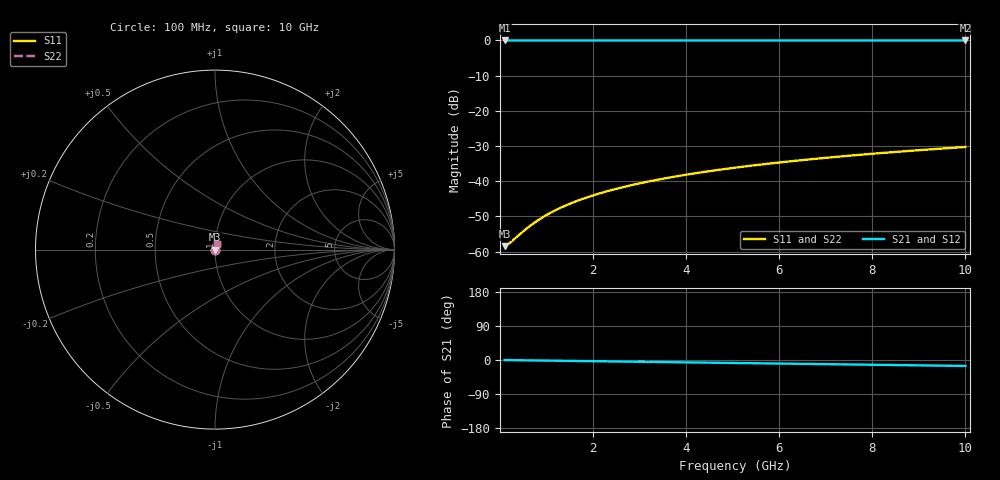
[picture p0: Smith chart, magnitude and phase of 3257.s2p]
# Hz S RI R 50.00
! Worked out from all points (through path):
!   100 points, 100 MHz to 10 GHz, reference 50 ohm
!   highest |S21| = -0.01 dB at 100 MHz (marker M1); lowest = 0.0 dB at 10 GHz (marker M2)
!   group delay of S21, straight-line fit = 4.36 ps
!   lowest |S11| = -58.5 dB at 100 MHz (marker M3), VSWR 1.00, Z = 50.1 + j0.0306 ohm
!   |S11| at or under -10 dB: start of sweep to end of sweep
!   |S22| runs from -58.5 to -30.3 dB; largest |S21 - S12| = 0
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1e8  0.00115 0.000306  0.9988 -0.00272  0.9988 -0.00272  0.00115 0.000306
2e8  0.00116 0.000611  0.9988 -0.00544  0.9988 -0.00544  0.00116 0.000611
6e8  0.0012 0.00183  0.9987 -0.0163  0.9987 -0.0163  0.0012 0.00183
7e8  0.00122 0.00214  0.9986 -0.019  0.9986 -0.019  0.00122 0.00214
9e8  0.00125 0.00275  0.9985 -0.0245  0.9985 -0.0245  0.00125 0.00275
1.1e9  0.00128 0.00336  0.9983 -0.0299  0.9983 -0.0299  0.00128 0.00336
1.3e9  0.00132 0.00397  0.9982 -0.0353  0.9982 -0.0353  0.00132 0.00397
1.5e9  0.00137 0.00458  0.9979 -0.0408  0.9979 -0.0408  0.00137 0.00458
1.8e9  0.00146 0.00549  0.9976 -0.0489  0.9976 -0.0489  0.00146 0.00549
2.1e9  0.00156 0.00639  0.9971 -0.0571  0.9971 -0.0571  0.00156 0.00639
2.5e9  0.00171 0.0076  0.9964 -0.068  0.9964 -0.068  0.00171 0.0076
2.9e9  0.00189 0.00881  0.9956 -0.0788  0.9956 -0.0788  0.00189 0.00881
3.4e9  0.00216 0.0103  0.9944 -0.0924  0.9944 -0.0924  0.00216 0.0103
3.8e9  0.0024 0.0115  0.9933 -0.1033  0.9933 -0.1033  0.0024 0.0115
4.2e9  0.00266 0.0127  0.9921 -0.1141  0.9921 -0.1141  0.00266 0.0127
4.6e9  0.00295 0.0139  0.9907 -0.125  0.9907 -0.125  0.00295 0.0139
5.1e9  0.00336 0.0153  0.9889 -0.1385  0.9889 -0.1385  0.00336 0.0153
5.9e9  0.00408 0.0177  0.9856 -0.1602  0.9856 -0.1602  0.00408 0.0177
6.7e9  0.00491 0.02  0.9817 -0.1818  0.9817 -0.1818  0.00491 0.02
7.5e9  0.00585 0.0222  0.9774 -0.2034  0.9774 -0.2034  0.00585 0.0222
8.4e9  0.00702 0.0248  0.972 -0.2276  0.972 -0.2276  0.00702 0.0248
1e10  0.00943 0.0291  0.9608 -0.2703  0.9608 -0.2703  0.00943 0.0291
